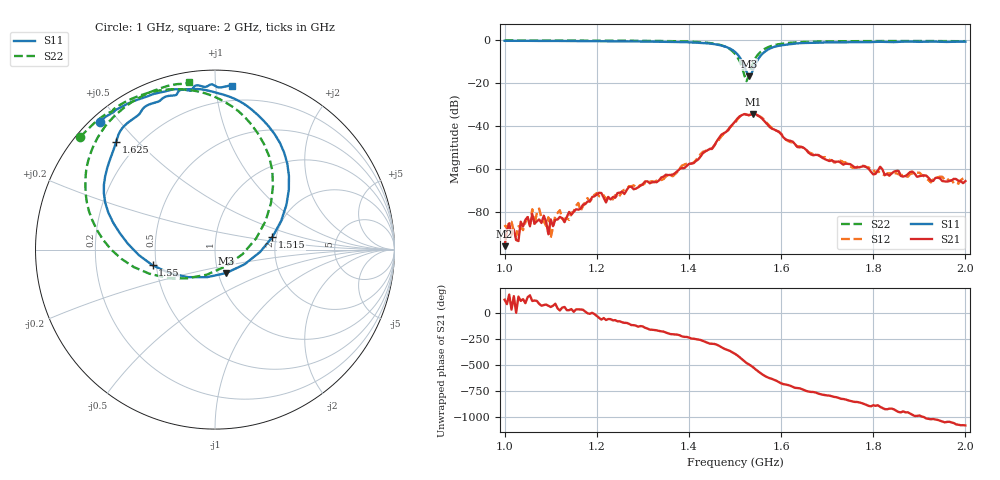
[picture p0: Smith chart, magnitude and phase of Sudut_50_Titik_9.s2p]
# Hz S RI R 50
! CMT, C1220, 16058040, 17.2.0/1
! Date: 14/08/2018 11:54:55
! Data: Format (Calibration Info)
! Freq  S11: Re/Im (F2)  S21: Re/Im (F2)  S12: Re/Im (F2)  S22: Re/Im (F2)
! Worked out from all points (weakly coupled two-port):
!   201 points, 1 GHz to 2 GHz, reference 50 ohm
!   highest |S21| = -34.35 dB at 1.54 GHz (marker M1); lowest = -95.7 dB at 1 GHz (marker M2)
!   lowest |S11| = -16.8 dB at 1.53 GHz (marker M3), VSWR 1.34, Z = 54.7 - j14.6 ohm
!   |S11| at or under -10 dB: 1.516 GHz to 1.547 GHz (31.57 MHz wide, 2.06 % of centre)
!   |S22| runs from -19.1 to -0.2 dB; largest |S21 - S12| = 0.00085
!   S11 on the Smith chart (normalised r, x): 1 GHz: 0.03, +0.44; 1.515 GHz: 1.91, +0.30; 1.55 GHz: 0.48, -0.10; 1.625 GHz: 0.12, +0.43; 2 GHz: 0.10, +1.10
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1e9  -0.6433 0.7108  -1.06e-05 1.24e-05  -4.18e-05 -2.84e-05  -0.75 0.6269
1.145e9  -0.4962 0.8082  6.69e-05 5.7e-05  6.13e-05 7.53e-05  -0.6374 0.7338
1.17e9  -0.4713 0.8198  0.000125 8.28e-05  0.000122 6.63e-05  -0.6124 0.752
1.2e9  -0.4286 0.836  0.000231 -0.000113  0.000243 -0.000137  -0.5785 0.7654
1.22e9  -0.4092 0.8427  7.36e-05 -0.000153  8.66e-05 -0.000181  -0.5674 0.7788
1.335e9  -0.2139 0.8933  -0.000538 -0.000103  -0.000525 -4.71e-05  -0.3957 0.8659
1.45e9  0.1838 0.7963  0.00116 0.00272  0.00139 0.00273  0.027 0.8377
1.5e9  0.4115 0.3338  0.0111 -0.00622  0.0105 -0.00587  0.323 0.3527
1.515e9  0.3203 0.0703  0.00303 -0.0178  0.00347 -0.0179  0.229 0.0621
1.525e9  0.1637 -0.0825  -0.00853 -0.0164  -0.00853 -0.0166  0.0594 -0.0937
1.53e9  0.063 -0.1303  -0.0117 -0.0136  -0.0118 -0.0137  -0.0469 -0.1401
1.54e9  -0.151 -0.1535  -0.0181 -0.0062  -0.018 -0.00615  -0.2675 -0.1576
1.55e9  -0.3472 -0.0879  -0.0168 0.00521  -0.017 0.00462  -0.4513 -0.0979
1.58e9  -0.6113 0.2606  2.65e-05 0.00876  0.000429 0.00907  -0.7023 0.2147
1.625e9  -0.5506 0.5988  0.00425 0.00108  0.00399 0.00114  -0.6981 0.5223
1.67e9  -0.4388 0.7407  0.00169 -0.00126  0.00179 -0.00132  -0.6207 0.6745
1.8e9  -0.2061 0.8777  -0.000727 -0.000219  -0.000977 6.91e-05  -0.4178 0.8487
1.815e9  -0.1857 0.8907  -0.00114 -1.43e-05  -0.000809 6.53e-05  -0.3967 0.8602
1.835e9  -0.1444 0.8854  -0.000678 0.000201  -0.00074 0.00031  -0.3704 0.8729
1.9e9  -0.0553 0.9063  -9.91e-05 0.00068  1.25e-05 0.000833  -0.2792 0.9073
1.925e9  -0.0229 0.9203  0.000253 0.000483  0.00015 0.000472  -0.245 0.9163
2e9  0.0942 0.911  0.000531 2.05e-05  0.000636 -4.94e-05  -0.1469 0.9311
